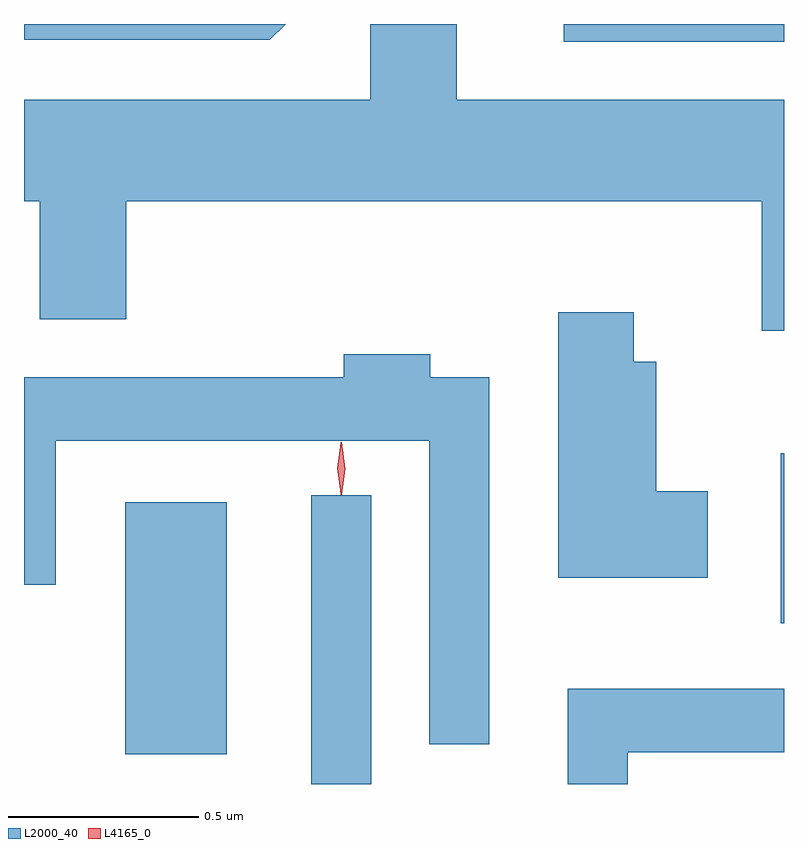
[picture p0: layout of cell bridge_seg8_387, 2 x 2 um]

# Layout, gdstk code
import gdstk
lib = gdstk.Library(unit=1e-6, precision=1e-09)
def R(c, l, rs):  # rectangles x0, y0, x1, y1
    for r in rs: c.add(gdstk.rectangle(r[:2], r[2:], *l))
def P(c, l, *ps):  # polygons
    for p in ps: c.add(gdstk.Polygon(p, *l))
L2000_40 = (2000, 40)
L4165_0 = (4165, 0)

bridge_seg8_387 = lib.new_cell('bridge_seg8_387')
R(bridge_seg8_387, L2000_40, [(687.876,1879.283,688.034,1880.043), (687.386,1879.361,687.654,1880.024), (689.111,1879.706,689.12,1880.154), (688.541,1881.236,689.12,1881.283)])
P(bridge_seg8_387, L2000_40, [(689.12,1881.084),(688.259,1881.084),(688.259,1881.283),(688.031,1881.283),(688.031,1881.084),(687.12,1881.084),(687.12,1880.816),(687.161,1880.816),(687.161,1880.506),(687.389,1880.506),(687.389,1880.816),(689.061,1880.816),(689.061,1880.476),(689.12,1880.476)],
  [(687.809,1881.283),(687.12,1881.283),(687.12,1881.241),(687.767,1881.241)],
  [(688.919,1880.054),(688.784,1880.054),(688.784,1880.394),(688.724,1880.394),(688.724,1880.524),(688.526,1880.524),(688.526,1879.826),(688.919,1879.826)],
  [(688.344,1880.354),(688.189,1880.354),(688.189,1880.414),(687.961,1880.414),(687.961,1880.354),(687.12,1880.354),(687.12,1879.808),(687.204,1879.808),(687.204,1880.186),(688.186,1880.186),(688.186,1879.388),(688.344,1879.388)],
  [(688.709,1879.366),(689.12,1879.366),(689.12,1879.534),(688.551,1879.534),(688.551,1879.283),(688.709,1879.283)])
P(bridge_seg8_387, L4165_0, [(687.954,1880.047),(687.954,1880.048),(687.944,1880.114),(687.954,1880.18),(687.954,1880.18),(687.955,1880.18),(687.964,1880.114),(687.955,1880.048)],
  [(687.954,1880.044),(687.945,1880.113),(687.954,1880.182),(687.955,1880.183),(687.956,1880.182),(687.965,1880.113),(687.956,1880.044),(687.955,1880.044)])

lib.write_gds('bridge_seg8_387.gds')
